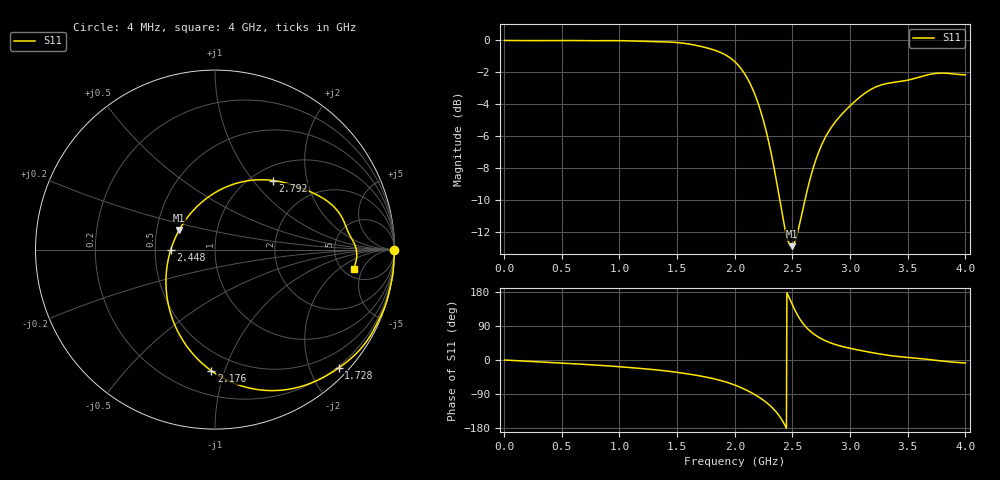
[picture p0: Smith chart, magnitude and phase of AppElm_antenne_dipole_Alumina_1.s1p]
! TOUCHSTONE file generated by CST MICROWAVE STUDIO
! Date and time: Sat May 14 10:20:39 2022
! Project name: AppElm_antenne_dipole_Alumina.cst
! Parameters = {L=33; e=0.035; f=2.45e+09; h=1.6; i=0.8; l1=1.5; lambda=122.449; ls=30; wl=1.7; ws=80}
! Header version: 2018
! Port assignment regex: !\s*Touchstone port\s*([0-9]+)\s*=\s*(CST MWS port|CST DS port)\s*([0-9]+|Zmin|Zmax)\s*\(\"(.*)\"\)(\s*mode\s*([0-9]+))?.*
! Touchstone port assignment:
! Touchstone port 1 = CST MWS port 1 ("")
# GHz S MA R 50
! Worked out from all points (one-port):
!   1000 points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, 4 MHz to 4 GHz, reference 50 ohm
!   lowest |S11| = -12.9 dB at 2.492 GHz (marker M1), VSWR 1.59, Z = 32.7 + j7.58 ohm
!   |S11| at or under -10 dB: 2.391 GHz to 2.608 GHz (217 MHz wide, 8.68 % of centre)
!   S11 on the Smith chart (normalised r, x): 4 MHz: open; 1.728 GHz: 0.17, -2.48; 2.176 GHz: 0.36, -0.90; 2.448 GHz: 0.60, -0.00; 2.792 GHz: 1.23, +1.27; 4 GHz: 6.23, -3.42
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0.004  1 -0.1
0.504  1 -8.1
1.004  0.9985 -17.8
1.312  0.9915 -25.8
1.504  0.9848 -32.7
1.728  0.9539 -43.7
1.876  0.9175 -53.9
2.004  0.8558 -66.6
2.092  0.7802 -78.1
2.176  0.6756 -91.7
2.244  0.5692 -105.2
2.32  0.4361 -124.3
2.384  0.3269 -146.7
2.448  0.2463 -179.8
2.492  0.2275 151.1
2.504  0.2288 143.0
2.532  0.2414 125.4
2.572  0.2764 104.7
2.636  0.3491 81.2
2.708  0.4286 63.8
2.792  0.5029 49.9
2.884  0.5635 39.6
3.004  0.6267 30.5
3.136  0.6869 22.6
3.24  0.7198 16.8
3.504  0.7521 6.6
3.748  0.7893 -1.0
4  0.7812 -7.9
